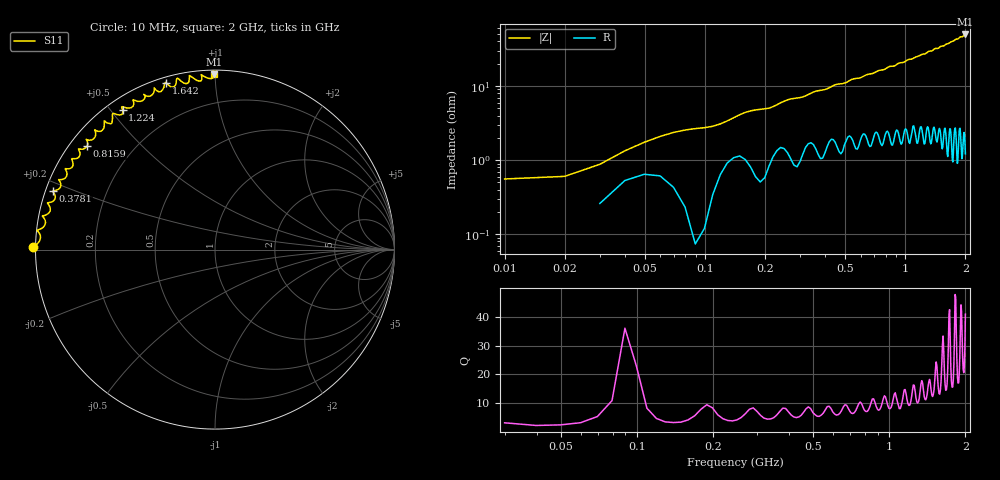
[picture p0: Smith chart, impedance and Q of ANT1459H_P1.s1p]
!Created with skrf (http://scikit-rf.org).
# Hz S RI R 50.0
!freq ReS11 ImS11
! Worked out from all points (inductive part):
!   201 points, 10 MHz to 2 GHz, reference 50 ohm
!   read as one part to ground: L = 4.78 nH near 19.95 MHz
!   highest Q = 40.9 at 2 GHz (marker M1), where L = 3.96 nH
!   S11 on the Smith chart (normalised r, x): 10 MHz: -0.01, +0.01; 378.1 MHz: 0.02, +0.17; 816 MHz: 0.05, +0.35; 1.224 GHz: 0.04, +0.54; 1.642 GHz: 0.03, +0.75; 2 GHz: 0.02, +0.99
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1e7  -1.017 0.0152
4.98e7  -0.9725 0.063
9.955e7  -0.9893 0.1088
1.3935e8  -0.9481 0.1367
1.891e8  -0.962 0.1872
2.5875e8  -0.921 0.2395
3.7815e8  -0.9036 0.3246
5.075e8  -0.8468 0.3919
7.5625e8  -0.7594 0.557
8.1595e8  -0.7129 0.5752
8.657e8  -0.7182 0.6146
1.005e9  -0.6275 0.665
1.0448e9  -0.6176 0.7138
1.09455e9  -0.5803 0.701
1.1443e9  -0.5711 0.7554
1.2239e9  -0.5151 0.7787
1.25375e9  -0.5176 0.7963
1.3035e9  -0.4559 0.8002
1.35325e9  -0.4541 0.8344
1.403e9  -0.3938 0.8394
1.5025e9  -0.3418 0.8741
1.53235e9  -0.3387 0.9007
1.5821e9  -0.3008 0.8808
1.6418e9  -0.2708 0.9276
1.67165e9  -0.2387 0.9046
1.7214e9  -0.2129 0.9525
1.75125e9  -0.1893 0.9386
2e9  -0.00526 0.9759
